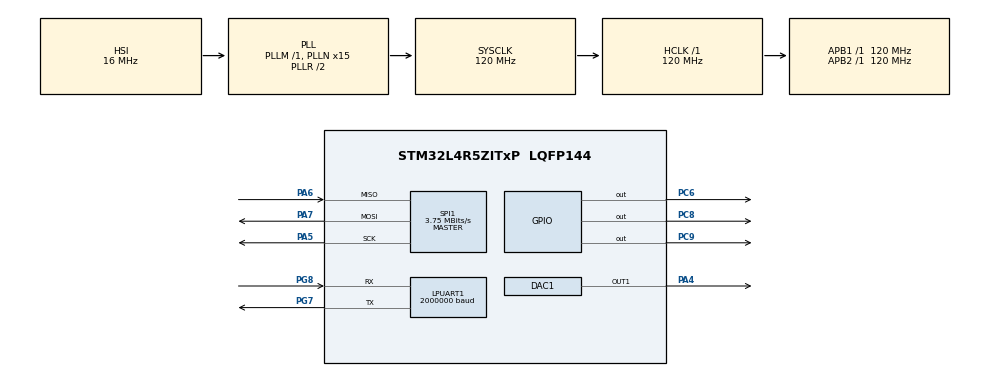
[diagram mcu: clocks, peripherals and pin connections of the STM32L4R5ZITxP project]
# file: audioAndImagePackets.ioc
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DAC1.DAC_Trigger-DAC_OUT1=DAC_TRIGGER_T2_TRGO
Dma.DAC1_CH1.0.Direction=DMA_MEMORY_TO_PERIPH
Dma.DAC1_CH1.0.EventEnable=DISABLE
Dma.DAC1_CH1.0.Instance=DMA1_Channel1
Dma.DAC1_CH1.0.MemDataAlignment=DMA_MDATAALIGN_HALFWORD
Dma.DAC1_CH1.0.MemInc=DMA_MINC_ENABLE
Dma.DAC1_CH1.0.Mode=DMA_CIRCULAR
Dma.DAC1_CH1.0.PeriphDataAlignment=DMA_PDATAALIGN_HALFWORD
Dma.DAC1_CH1.0.PeriphInc=DMA_PINC_DISABLE
Dma.DAC1_CH1.0.Polarity=HAL_DMAMUX_REQUEST_GEN_RISING
Dma.DAC1_CH1.0.Priority=DMA_PRIORITY_LOW
Dma.DAC1_CH1.0.RequestNumber=1
Dma.DAC1_CH1.0.SignalID=NONE
Dma.DAC1_CH1.0.SyncEnable=DISABLE
Dma.DAC1_CH1.0.SyncPolarity=HAL_DMAMUX_SYNC_NO_EVENT
Dma.DAC1_CH1.0.SyncRequestNumber=1
Dma.DAC1_CH1.0.SyncSignalID=NONE
Dma.LPUART1_RX.1.Direction=DMA_PERIPH_TO_MEMORY
Dma.LPUART1_RX.1.EventEnable=DISABLE
Dma.LPUART1_RX.1.Instance=DMA1_Channel2
Dma.LPUART1_RX.1.MemDataAlignment=DMA_MDATAALIGN_BYTE
Dma.LPUART1_RX.1.MemInc=DMA_MINC_ENABLE
Dma.LPUART1_RX.1.Mode=DMA_NORMAL
Dma.LPUART1_RX.1.PeriphDataAlignment=DMA_PDATAALIGN_BYTE
Dma.LPUART1_RX.1.PeriphInc=DMA_PINC_DISABLE
Dma.LPUART1_RX.1.Polarity=HAL_DMAMUX_REQUEST_GEN_RISING
Dma.LPUART1_RX.1.Priority=DMA_PRIORITY_LOW
Dma.LPUART1_RX.1.RequestNumber=1
Dma.LPUART1_RX.1.SignalID=NONE
Dma.LPUART1_RX.1.SyncEnable=DISABLE
Dma.LPUART1_RX.1.SyncPolarity=HAL_DMAMUX_SYNC_NO_EVENT
Dma.LPUART1_RX.1.SyncRequestNumber=1
Dma.LPUART1_RX.1.SyncSignalID=NONE
Dma.Request0=DAC1_CH1
Dma.Request1=LPUART1_RX
LPUART1.BaudRate=2000000
LPUART1.WordLength=UART_WORDLENGTH_8B
Mcu.Family=STM32L4
Mcu.Name=STM32L4R5ZITxP
Mcu.Package=LQFP144
NVIC.DMA1_Channel1_IRQn=true\:0\:0\:false\:false\:true\:false\:true\:true
NVIC.DMA1_Channel2_IRQn=true\:0\:0\:false\:false\:true\:false\:true\:true
NVIC.LPUART1_IRQn=true\:0\:0\:false\:false\:true\:true\:true\:true
NVIC.PriorityGroup=NVIC_PRIORITYGROUP_4
PA0.Signal=S_TIM2_CH1
PA1.Signal=ADCx_IN6
PA10.Signal=USB_OTG_FS_ID
PA13\ (JTMS/SWDIO).Signal=SYS_JTMS-SWDIO
PA14\ (JTCK/SWCLK).Signal=SYS_JTCK-SWCLK
PA3.Signal=ADCx_IN8
PA4.Signal=COMP_DAC11_group
PA5.Mode=Full_Duplex_Master
PA5.Signal=SPI1_SCK
PA6.Mode=Full_Duplex_Master
PA6.Signal=SPI1_MISO
PA7.Mode=Full_Duplex_Master
PA7.Signal=SPI1_MOSI
PA8.Signal=USB_OTG_FS_SOF
PA9.Signal=USB_OTG_FS_VBUS
PB0.Signal=S_TIM3_CH3
PB1.Signal=ADCx_IN16
PB10.Signal=S_TIM2_CH3
PB12.Signal=SAI2_FS_A
PB13.Signal=SAI2_SCK_A
PB14.Signal=S_TIM15_CH1
PB15.Signal=SAI2_SD_A
PB2.Signal=COMP1_INP
PB3\ (JTDO/TRACESWO).Signal=SPI3_SCK
PB4\ (NJTRST).Signal=SPI3_MISO
PB5.Signal=SPI3_MOSI
PB6.Signal=COMP2_INP
PB8.Signal=I2C1_SCL
PB9.Signal=I2C1_SDA
PC0.Signal=ADCx_IN1
PC1.Signal=ADCx_IN2
PC10.Signal=SDMMC1_D2
PC11.Signal=SDMMC1_D3
PC12.Signal=SDMMC1_CK
PC13.Signal=SYS_WKUP2
PC14-OSC32_IN\ (PC14).Signal=RCC_OSC32_IN
PC15-OSC32_OUT\ (PC15).Signal=RCC_OSC32_OUT
PC2.Signal=ADCx_IN3
PC3.Signal=ADCx_IN4
PC4.Signal=ADCx_IN13
PC5.Signal=ADCx_IN14
PC6.Signal=GPIO_Output
PC7.Signal=S_TIM3_CH2
PC8.Signal=GPIO_Output
PC9.Signal=GPIO_Output
PD0.Signal=CAN1_RX
PD14.Signal=S_TIM4_CH3
PD15.Signal=S_TIM4_CH4
PD2.Signal=SDMMC1_CMD
PD3.Signal=USART2_CTS
PD5.Signal=USART2_TX
PD6.Signal=USART2_RX
PD8.Signal=USART3_TX
PD9.Signal=USART3_RX
PE0.Signal=S_TIM4_ETR
PE10.Signal=TIM1_CH2N
PE11.Signal=S_TIM1_CH2
PE12.Signal=TIM1_CH3N
PE13.Signal=S_TIM1_CH3
PE14.Signal=TIM1_BKIN2
PE15.Signal=TIM1_BKIN
PE2.Signal=SAI1_MCLK_A
PE3.Signal=SAI1_SD_B
PE7.Signal=S_TIM1_ETR
PE8.Signal=TIM1_CH1N
PE9.Signal=S_TIM1_CH1
PF0.Signal=I2C2_SDA
PF1.Signal=I2C2_SCL
PF2.Signal=I2C2_SMBA
PF7.Signal=SAI1_MCLK_B
PG7.Mode=Asynchronous
PG7.Signal=LPUART1_TX
PG8.Mode=Asynchronous
PG8.Signal=LPUART1_RX
PH0-OSC_IN\ (PH0).Signal=RCC_OSC_IN
PH1-OSC_OUT\ (PH1).Signal=RCC_OSC_OUT
ProjectManager.HeapSize=0x200
ProjectManager.StackSize=0x400
ProjectManager.TargetToolchain=STM32CubeIDE
RCC.ADCFreq_Value=64000000
RCC.AHBFreq_Value=120000000
RCC.APB1Freq_Value=120000000
RCC.APB1TimFreq_Value=120000000
RCC.APB2Freq_Value=120000000
RCC.APB2TimFreq_Value=120000000
RCC.CortexFreq_Value=120000000
RCC.HCLKFreq_Value=120000000
RCC.HSE_VALUE=8000000
RCC.HSI48_VALUE=48000000
RCC.HSI_VALUE=16000000
RCC.LPUART1CLockSelection=RCC_LPUART1CLKSOURCE_HSI
RCC.LSE_VALUE=32768
RCC.MSI_VALUE=4000000
RCC.PLLN=15
RCC.PLLSourceVirtual=RCC_PLLSOURCE_HSI
RCC.SYSCLKFreq_VALUE=120000000
RCC.SYSCLKSource=RCC_SYSCLKSOURCE_PLLCLK
RCC.USBFreq_Value=64000000
RCC.VCOOutputFreq_Value=240000000
SH.ADCx_IN1.0=ADC1_IN1
SH.ADCx_IN13.0=ADC1_IN13
SH.ADCx_IN14.0=ADC1_IN14
SH.ADCx_IN16.0=ADC1_IN16
SH.ADCx_IN2.0=ADC1_IN2
SH.ADCx_IN3.0=ADC1_IN3
SH.ADCx_IN4.0=ADC1_IN4
SH.ADCx_IN6.0=ADC1_IN6
SH.ADCx_IN8.0=ADC1_IN8
SH.COMP_DAC11_group.0=DAC1_OUT1,DAC_OUT1
SH.S_TIM15_CH1.0=TIM15_CH1
SH.S_TIM1_CH1.0=TIM1_CH1
SH.S_TIM1_CH2.0=TIM1_CH2
SH.S_TIM1_CH3.0=TIM1_CH3
SH.S_TIM1_ETR.0=TIM1_ETR
SH.S_TIM2_CH1.0=TIM2_CH1
SH.S_TIM2_CH3.0=TIM2_CH3
SH.S_TIM3_CH2.0=TIM3_CH2
SH.S_TIM3_CH3.0=TIM3_CH3
SH.S_TIM4_CH3.0=TIM4_CH3
SH.S_TIM4_CH4.0=TIM4_CH4
SH.S_TIM4_ETR.0=TIM4_ETR
SPI1.BaudRatePrescaler=SPI_BAUDRATEPRESCALER_32
SPI1.CalculateBaudRate=3.75 MBits/s
SPI1.DataSize=SPI_DATASIZE_8BIT
SPI1.Direction=SPI_DIRECTION_2LINES
SPI1.Mode=SPI_MODE_MASTER
SPI1.VirtualType=VM_MASTER
TIM1.AutoReloadPreload=TIM_AUTORELOAD_PRELOAD_ENABLE
TIM1.Period=49
TIM1.Prescaler=119
TIM2.Period=2499
TIM2.TIM_MasterOutputTrigger=TIM_TRGO_UPDATE
VP_TIM1_VS_ClockSourceINT.Mode=Internal
VP_TIM2_VS_ClockSourceINT.Mode=Internal
board=NUCLEO-L4R5ZI-P

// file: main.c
/* USER CODE BEGIN Header */
/**
  ******************************************************************************
  * @file           : main.c
  * @brief          : Main program body
  ******************************************************************************
  * @attention
  *
  * Copyright (c) 2025 STMicroelectronics.
  * All rights reserved.
  *
  * This software is licensed under terms that can be found in the LICENSE file
  * in the root directory of this software component.
  * If no LICENSE file comes with this software, it is provided AS-IS.
  *
  ******************************************************************************
  */
/* USER CODE END Header */
#include "main.h"

/* USER CODE BEGIN Includes */
#include "packets.h"
#include "tft.h"
#include <string.h>

/* USER CODE END Includes */

DAC_HandleTypeDef hdac1;
DMA_HandleTypeDef hdma_dac1_ch1;

UART_HandleTypeDef hlpuart1;
DMA_HandleTypeDef hdma_lpuart1_rx;

SPI_HandleTypeDef hspi1;

TIM_HandleTypeDef htim1;
TIM_HandleTypeDef htim2;

/* USER CODE BEGIN PV */

		#define PKT_SYNC_SIZE    2   // 0xA5, 0x5A
		#define PKT_HEADER_SIZE  (sizeof(pkt_header_t))  // 7 bytes (packed)
		#define PKT_PREFIX_SIZE  (PKT_SYNC_SIZE + PKT_HEADER_SIZE) // 9 bytes before payload
		#define PKT_CRC_SIZE     2

		#define UART_ACK_HEADER  'H'
		#define UART_ACK_OK      'S'
		#define UART_ACK_ERR     'E'
		#define UART_ACK_NEXT_AUDIO_CHUNK 'A'

		// Packet size/overhead (must match Python script)
		#define PKT_OVERHEAD     (PKT_SYNC_SIZE + PKT_HEADER_SIZE + PKT_CRC_SIZE) // 11
		#define PKT_MAX_SIZE     0xFFFFu  // total packet: sync+header+payload+CRC

		#define IMG_PKT_MAX_SIZE     PKT_MAX_SIZE
		#define AUD_PKT_MAX_SIZE     PKT_MAX_SIZE

		#define IMG_MAX_PAYLOAD_BYTES  (IMG_PKT_MAX_SIZE - PKT_OVERHEAD)
		#define AUD_MAX_PAYLOAD_BYTES  (AUD_PKT_MAX_SIZE - PKT_OVERHEAD)

		// DAC circular buffer: 2 halves, each half holds one max audio payload worth of samples
		// 2 bytes per 16-bit PCM sample => samples = bytes/2
		#define DAC_HALF_SAMPLES   (AUD_MAX_PAYLOAD_BYTES / 2u)
		#define DAC_BUF_SAMPLES    (2u * DAC_HALF_SAMPLES)

		// UART RX context
	typedef enum {
		RX_STATE_WAIT_PREFIX,   // waiting for 2 sync + 7 header bytes
		RX_STATE_WAIT_PAYLOAD,  // waiting for payload (image or audio)
		RX_STATE_WAIT_CRC       // waiting for audio CRC (2 bytes)
	} uart_rx_state_t;

		typedef struct {
			uart_rx_state_t state;
			uint8_t  prefix_buf[PKT_PREFIX_SIZE];  // 9 bytes: sync + header
			pkt_header_t header;
			uint16_t payload_len;
			uint8_t *payload_dst;                  // destination buffer for payload+CRC
		} uart_rx_ctx_t;

		uart_rx_ctx_t g_uart_rx;

		// Buffers
		uint16_t dac_buf[DAC_BUF_SAMPLES];  // DAC circular buffer

		uint8_t image_pkt_buf[IMG_MAX_PAYLOAD_BYTES + PKT_CRC_SIZE];

		// Audio RX views onto dac_buf halves
		uint8_t *audio_pkt_buf0 = (uint8_t *)dac_buf;                      // first half
		uint8_t *audio_pkt_buf1 = (uint8_t *)&dac_buf[DAC_HALF_SAMPLES];   // second half

		// NEW: CRC storage for audio packets
		uint8_t audio_crc_buf[PKT_CRC_SIZE];

		// Flags
		volatile uint8_t  image_pkt_ready = 0;
		volatile uint16_t image_pkt_len   = 0;

		volatile uint8_t  audio_pkt_ready = 0;
		volatile uint8_t  audio_write_idx = 0;   // 0 or 1
		volatile uint16_t audio_pkt_len   = 0;

		// Which halves of dac_buf are free to write into
		volatile uint8_t half0_free = 1;  // dac_buf[0 .. DAC_HALF_SAMPLES-1]
		volatile uint8_t half1_free = 1;  // dac_buf[DAC_HALF_SAMPLES .. end]

/* USER CODE END PV */

void SystemClock_Config(void);
static void MX_GPIO_Init(void);
static void MX_DMA_Init(void);
static void MX_SPI1_Init(void);
static void MX_TIM1_Init(void);
static void MX_LPUART1_UART_Init(void);
static void MX_DAC1_Init(void);
static void MX_TIM2_Init(void);
/* USER CODE BEGIN PFP */
static void uart_start_header_rx(void);

/* USER CODE END PFP */

int main(void)
{

  /* MCU Configuration--------------------------------------------------------*/

  /* Reset of all peripherals, Initializes the Flash interface and the Systick. */
  HAL_Init();

  /* Configure the system clock */
  SystemClock_Config();

  /* Initialize all configured peripherals */
  MX_GPIO_Init();
  MX_DMA_Init();
  MX_SPI1_Init();
  MX_TIM1_Init();
  MX_LPUART1_UART_Init();
  MX_DAC1_Init();
  MX_TIM2_Init();
  /* USER CODE BEGIN 2 */
  tft_init();
  tft_fill_rect(0, 0, 480, 320, 0xAAAA);
  // HAL_GPIO_WritePin(GPIOC, GPIO_PIN_6, GPIO_PIN_SET); // LED ON

  uart_start_header_rx();

  /* Start TIM2 (48 kHz trigger) */
  HAL_TIM_Base_Start(&htim2);

  /* Init DAC circular buffer to mid-scale (silence) */
  for (uint32_t i = 0; i < DAC_BUF_SAMPLES; ++i) {
      dac_buf[i] = 2048; // mid-scale for 12-bit
  }

  /* Start DAC in circular DMA mode over dac_buf */
  if (HAL_DAC_Start_DMA(&hdac1,
                        DAC_CHANNEL_1,
                        (uint32_t *)dac_buf,
                        DAC_BUF_SAMPLES,
                        DAC_ALIGN_12B_R) != HAL_OK) {
      Error_Handler();
  }

  /* USER CODE END 2 */

  /* Infinite loop */
  /* USER CODE BEGIN WHILE */

  while (1)
  {
	  // 1) Handle image packets
	  if (image_pkt_ready) {
	      __disable_irq();
	      uint16_t payload_len = image_pkt_len;   // bytes of image payload
	      image_pkt_ready = 0;
	      __enable_irq();

	      if (payload_len  <= sizeof(image_pkt_buf)) {

	          uint16_t recv_crc =
	              ((uint16_t)image_pkt_buf[payload_len] << 8) |
	               (uint16_t)image_pkt_buf[payload_len + 1];

	          uint16_t calc_crc = crc16_ccitt(&g_uart_rx.prefix_buf[2], image_pkt_buf, payload_len);

	          if (calc_crc != recv_crc) {
	              uint8_t nack = UART_ACK_ERR;
	              HAL_UART_Transmit(&hlpuart1, &nack, 1, 10);
	          } else {
	              // Example: full-frame 480x320 RGB565
	        	  parse_and_apply_image_packet(image_pkt_buf, payload_len);
	              // else: decode according to your actual format.

	              uint8_t ack = UART_ACK_OK;
	              HAL_UART_Transmit(&hlpuart1, &ack, 1, 10);
	          }
	      } else {
	          uint8_t nack = UART_ACK_ERR;
	          HAL_UART_Transmit(&hlpuart1, &nack, 1, 10);
	      }
	  }

		  // 2) Handle audio packets (fill halves of dac_buf, DAC runs continuously)
      // 2) Handle audio packets (convert in-place in dac_buf, DAC runs continuously)
	  if (audio_pkt_ready) {
	      __disable_irq();
	      uint8_t  idx         = audio_write_idx;  // 0 or 1
	      uint16_t payload_len = audio_pkt_len;    // bytes of audio payload
	      audio_pkt_ready = 0;
	      __enable_irq();

	      // Sanity-check payload length vs half-buffer size
	      if (payload_len > AUD_MAX_PAYLOAD_BYTES) {
	          uint8_t nack = UART_ACK_ERR;
	          HAL_UART_Transmit(&hlpuart1, &nack, 1, 10);
	          continue;
	      }

	      // CRC from separate buffer (big-endian: [hi][lo])
	      uint16_t recv_crc =
	          ((uint16_t)audio_crc_buf[0] << 8) |
	           (uint16_t)audio_crc_buf[1];

	      // Payload lives in selected half of dac_buf
	      uint8_t *payload_bytes = (uint8_t *)(
	          (idx == 0)
	          ? &dac_buf[0]
	          : &dac_buf[DAC_HALF_SAMPLES]
	      );

	      uint16_t calc_crc = crc16_ccitt(&g_uart_rx.prefix_buf[2],
	                                      payload_bytes,
	                                      payload_len);

	      if (calc_crc != recv_crc) {
	          uint8_t nack = UART_ACK_ERR;
	          HAL_UART_Transmit(&hlpuart1, &nack, 1, 10);
	          continue;
	      }

	      // Good packet. Convert in-place in chosen half of dac_buf.
	      uint16_t num_samples = payload_len / 2;  // 2 bytes/sample
	      if (num_samples > DAC_HALF_SAMPLES) {
	          num_samples = DAC_HALF_SAMPLES;
	      }

	      int16_t  *src = (int16_t *)payload_bytes;        // signed PCM
	      uint16_t *dst = (uint16_t *)payload_bytes;       // same locations for DAC

	      for (uint16_t i = 0; i < num_samples; ++i) {
	          int32_t s = src[i];      // -32768..32767
	          s += 32768;              // 0..65535
	          if (s < 0)      s = 0;
	          if (s > 65535)  s = 65535;
	          dst[i] = (uint16_t)(s >> 4);   // 12-bit right aligned
	      }

	      // Pad rest of half with mid-scale if packet smaller than half
	      for (uint16_t i = num_samples; i < DAC_HALF_SAMPLES; ++i) {
	          dst[i] = 2048;
	      }

	      // Tell PC this packet was accepted and written into that half
	      uint8_t ack = UART_ACK_OK;
	      HAL_UART_Transmit(&hlpuart1, &ack, 1, 10);
	  }

    /* USER CODE END WHILE */

  }
}

void SystemClock_Config(void)
{
  RCC_OscInitTypeDef RCC_OscInitStruct = {0};
  RCC_ClkInitTypeDef RCC_ClkInitStruct = {0};

  /** Configure the main internal regulator output voltage
  */
  if (HAL_PWREx_ControlVoltageScaling(PWR_REGULATOR_VOLTAGE_SCALE1_BOOST) != HAL_OK)
  {
    Error_Handler();
  }

  /** Initializes the RCC Oscillators according to the specified parameters
  * in the RCC_OscInitTypeDef structure.
  */
  RCC_OscInitStruct.OscillatorType = RCC_OSCILLATORTYPE_HSI;
  RCC_OscInitStruct.HSIState = RCC_HSI_ON;
  RCC_OscInitStruct.HSICalibrationValue = RCC_HSICALIBRATION_DEFAULT;
  RCC_OscInitStruct.PLL.PLLState = RCC_PLL_ON;
  RCC_OscInitStruct.PLL.PLLSource = RCC_PLLSOURCE_HSI;
  RCC_OscInitStruct.PLL.PLLM = 1;
  RCC_OscInitStruct.PLL.PLLN = 15;
  RCC_OscInitStruct.PLL.PLLP = RCC_PLLP_DIV2;
  RCC_OscInitStruct.PLL.PLLQ = RCC_PLLQ_DIV2;
  RCC_OscInitStruct.PLL.PLLR = RCC_PLLR_DIV2;
  if (HAL_RCC_OscConfig(&RCC_OscInitStruct) != HAL_OK)
  {
    Error_Handler();
  }

  /** Initializes the CPU, AHB and APB buses clocks
  */
  RCC_ClkInitStruct.ClockType = RCC_CLOCKTYPE_HCLK|RCC_CLOCKTYPE_SYSCLK
                              |RCC_CLOCKTYPE_PCLK1|RCC_CLOCKTYPE_PCLK2;
  RCC_ClkInitStruct.SYSCLKSource = RCC_SYSCLKSOURCE_PLLCLK;
  RCC_ClkInitStruct.AHBCLKDivider = RCC_SYSCLK_DIV1;
  RCC_ClkInitStruct.APB1CLKDivider = RCC_HCLK_DIV1;
  RCC_ClkInitStruct.APB2CLKDivider = RCC_HCLK_DIV1;

  if (HAL_RCC_ClockConfig(&RCC_ClkInitStruct, FLASH_LATENCY_5) != HAL_OK)
  {
    Error_Handler();
  }
}

static void MX_DAC1_Init(void)
{

  DAC_ChannelConfTypeDef sConfig = {0};

  /** DAC Initialization
  */
  hdac1.Instance = DAC1;
  if (HAL_DAC_Init(&hdac1) != HAL_OK)
  {
    Error_Handler();
  }

  /** DAC channel OUT1 config
  */
  sConfig.DAC_SampleAndHold = DAC_SAMPLEANDHOLD_DISABLE;
  sConfig.DAC_Trigger = DAC_TRIGGER_T2_TRGO;
  sConfig.DAC_HighFrequency = DAC_HIGH_FREQUENCY_INTERFACE_MODE_ABOVE_80MHZ;
  sConfig.DAC_OutputBuffer = DAC_OUTPUTBUFFER_ENABLE;
  sConfig.DAC_ConnectOnChipPeripheral = DAC_CHIPCONNECT_DISABLE;
  sConfig.DAC_UserTrimming = DAC_TRIMMING_FACTORY;
  if (HAL_DAC_ConfigChannel(&hdac1, &sConfig, DAC_CHANNEL_1) != HAL_OK)
  {
    Error_Handler();
  }

}

static void MX_LPUART1_UART_Init(void)
{

  hlpuart1.Instance = LPUART1;
  hlpuart1.Init.BaudRate = 2000000;
  hlpuart1.Init.WordLength = UART_WORDLENGTH_8B;
  hlpuart1.Init.StopBits = UART_STOPBITS_1;
  hlpuart1.Init.Parity = UART_PARITY_NONE;
  hlpuart1.Init.Mode = UART_MODE_TX_RX;
  hlpuart1.Init.HwFlowCtl = UART_HWCONTROL_NONE;
  hlpuart1.Init.OneBitSampling = UART_ONE_BIT_SAMPLE_DISABLE;
  hlpuart1.Init.ClockPrescaler = UART_PRESCALER_DIV1;
  hlpuart1.AdvancedInit.AdvFeatureInit = UART_ADVFEATURE_NO_INIT;
  hlpuart1.FifoMode = UART_FIFOMODE_DISABLE;
  if (HAL_UART_Init(&hlpuart1) != HAL_OK)
  {
    Error_Handler();
  }
  if (HAL_UARTEx_SetTxFifoThreshold(&hlpuart1, UART_TXFIFO_THRESHOLD_1_8) != HAL_OK)
  {
    Error_Handler();
  }
  if (HAL_UARTEx_SetRxFifoThreshold(&hlpuart1, UART_RXFIFO_THRESHOLD_1_8) != HAL_OK)
  {
    Error_Handler();
  }
  if (HAL_UARTEx_DisableFifoMode(&hlpuart1) != HAL_OK)
  {
    Error_Handler();
  }

}

static void MX_SPI1_Init(void)
{

  /* SPI1 parameter configuration*/
  hspi1.Instance = SPI1;
  hspi1.Init.Mode = SPI_MODE_MASTER;
  hspi1.Init.Direction = SPI_DIRECTION_2LINES;
  hspi1.Init.DataSize = SPI_DATASIZE_8BIT;
  hspi1.Init.CLKPolarity = SPI_POLARITY_LOW;
  hspi1.Init.CLKPhase = SPI_PHASE_1EDGE;
  hspi1.Init.NSS = SPI_NSS_SOFT;
  hspi1.Init.BaudRatePrescaler = SPI_BAUDRATEPRESCALER_32;
  hspi1.Init.FirstBit = SPI_FIRSTBIT_MSB;
  hspi1.Init.TIMode = SPI_TIMODE_DISABLE;
  hspi1.Init.CRCCalculation = SPI_CRCCALCULATION_DISABLE;
  hspi1.Init.CRCPolynomial = 7;
  hspi1.Init.CRCLength = SPI_CRC_LENGTH_DATASIZE;
  hspi1.Init.NSSPMode = SPI_NSS_PULSE_ENABLE;
  if (HAL_SPI_Init(&hspi1) != HAL_OK)
  {
    Error_Handler();
  }

}

static void MX_TIM1_Init(void)
{

  TIM_ClockConfigTypeDef sClockSourceConfig = {0};
  TIM_MasterConfigTypeDef sMasterConfig = {0};

  htim1.Instance = TIM1;
  htim1.Init.Prescaler = 119;
  htim1.Init.CounterMode = TIM_COUNTERMODE_UP;
  htim1.Init.Period = 49;
  htim1.Init.ClockDivision = TIM_CLOCKDIVISION_DIV1;
  htim1.Init.RepetitionCounter = 0;
  htim1.Init.AutoReloadPreload = TIM_AUTORELOAD_PRELOAD_ENABLE;
  if (HAL_TIM_Base_Init(&htim1) != HAL_OK)
  {
    Error_Handler();
  }
  sClockSourceConfig.ClockSource = TIM_CLOCKSOURCE_INTERNAL;
  if (HAL_TIM_ConfigClockSource(&htim1, &sClockSourceConfig) != HAL_OK)
  {
    Error_Handler();
  }
  sMasterConfig.MasterOutputTrigger = TIM_TRGO_RESET;
  sMasterConfig.MasterOutputTrigger2 = TIM_TRGO2_RESET;
  sMasterConfig.MasterSlaveMode = TIM_MASTERSLAVEMODE_DISABLE;
  if (HAL_TIMEx_MasterConfigSynchronization(&htim1, &sMasterConfig) != HAL_OK)
  {
    Error_Handler();
  }

}

static void MX_TIM2_Init(void)
{

  TIM_ClockConfigTypeDef sClockSourceConfig = {0};
  TIM_MasterConfigTypeDef sMasterConfig = {0};

  htim2.Instance = TIM2;
  htim2.Init.Prescaler = 0;
  htim2.Init.CounterMode = TIM_COUNTERMODE_UP;
  htim2.Init.Period = 2499;
  htim2.Init.ClockDivision = TIM_CLOCKDIVISION_DIV1;
  htim2.Init.AutoReloadPreload = TIM_AUTORELOAD_PRELOAD_DISABLE;
  if (HAL_TIM_Base_Init(&htim2) != HAL_OK)
  {
    Error_Handler();
  }
  sClockSourceConfig.ClockSource = TIM_CLOCKSOURCE_INTERNAL;
  if (HAL_TIM_ConfigClockSource(&htim2, &sClockSourceConfig) != HAL_OK)
  {
    Error_Handler();
  }
  sMasterConfig.MasterOutputTrigger = TIM_TRGO_UPDATE;
  sMasterConfig.MasterSlaveMode = TIM_MASTERSLAVEMODE_DISABLE;
  if (HAL_TIMEx_MasterConfigSynchronization(&htim2, &sMasterConfig) != HAL_OK)
  {
    Error_Handler();
  }

}

static void MX_DMA_Init(void)
{

  /* DMA controller clock enable */
  __HAL_RCC_DMAMUX1_CLK_ENABLE();
  __HAL_RCC_DMA1_CLK_ENABLE();

  /* DMA interrupt init */
  /* DMA1_Channel1_IRQn interrupt configuration */
  HAL_NVIC_SetPriority(DMA1_Channel1_IRQn, 0, 0);
  HAL_NVIC_EnableIRQ(DMA1_Channel1_IRQn);
  /* DMA1_Channel2_IRQn interrupt configuration */
  HAL_NVIC_SetPriority(DMA1_Channel2_IRQn, 0, 0);
  HAL_NVIC_EnableIRQ(DMA1_Channel2_IRQn);

}

static void MX_GPIO_Init(void)
{
  GPIO_InitTypeDef GPIO_InitStruct = {0};

  /* GPIO Ports Clock Enable */
  __HAL_RCC_GPIOE_CLK_ENABLE();
  __HAL_RCC_GPIOC_CLK_ENABLE();
  __HAL_RCC_GPIOF_CLK_ENABLE();
  __HAL_RCC_GPIOH_CLK_ENABLE();
  __HAL_RCC_GPIOA_CLK_ENABLE();
  __HAL_RCC_GPIOB_CLK_ENABLE();
  __HAL_RCC_GPIOD_CLK_ENABLE();
  __HAL_RCC_GPIOG_CLK_ENABLE();
  HAL_PWREx_EnableVddIO2();

  /*Configure GPIO pin Output Level */
  HAL_GPIO_WritePin(GPIOC, GPIO_PIN_6|GPIO_PIN_8|GPIO_PIN_9, GPIO_PIN_RESET);

  /*Configure GPIO pins : PE2 PE3 */
  GPIO_InitStruct.Pin = GPIO_PIN_2|GPIO_PIN_3;
  GPIO_InitStruct.Mode = GPIO_MODE_AF_PP;
  GPIO_InitStruct.Pull = GPIO_NOPULL;
  GPIO_InitStruct.Speed = GPIO_SPEED_FREQ_LOW;
  GPIO_InitStruct.Alternate = GPIO_AF13_SAI1;
  HAL_GPIO_Init(GPIOE, &GPIO_InitStruct);

  /*Configure GPIO pins : PF0 PF1 PF2 */
  GPIO_InitStruct.Pin = GPIO_PIN_0|GPIO_PIN_1|GPIO_PIN_2;
  GPIO_InitStruct.Mode = GPIO_MODE_AF_OD;
  GPIO_InitStruct.Pull = GPIO_NOPULL;
  GPIO_InitStruct.Speed = GPIO_SPEED_FREQ_VERY_HIGH;
  GPIO_InitStruct.Alternate = GPIO_AF4_I2C2;
  HAL_GPIO_Init(GPIOF, &GPIO_InitStruct);

  /*Configure GPIO pin : PF7 */
  GPIO_InitStruct.Pin = GPIO_PIN_7;
  GPIO_InitStruct.Mode = GPIO_MODE_AF_PP;
  GPIO_InitStruct.Pull = GPIO_NOPULL;
  GPIO_InitStruct.Speed = GPIO_SPEED_FREQ_LOW;
  GPIO_InitStruct.Alternate = GPIO_AF13_SAI1;
  HAL_GPIO_Init(GPIOF, &GPIO_InitStruct);

  /*Configure GPIO pins : PC0 PC1 PC2 PC3
                           PC4 PC5 */
  GPIO_InitStruct.Pin = GPIO_PIN_0|GPIO_PIN_1|GPIO_PIN_2|GPIO_PIN_3
                          |GPIO_PIN_4|GPIO_PIN_5;
  GPIO_InitStruct.Mode = GPIO_MODE_ANALOG_ADC_CONTROL;
  GPIO_InitStruct.Pull = GPIO_NOPULL;
  HAL_GPIO_Init(GPIOC, &GPIO_InitStruct);

  /*Configure GPIO pins : PA1 PA3 */
  GPIO_InitStruct.Pin = GPIO_PIN_1|GPIO_PIN_3;
  GPIO_InitStruct.Mode = GPIO_MODE_ANALOG_ADC_CONTROL;
  GPIO_InitStruct.Pull = GPIO_NOPULL;
  HAL_GPIO_Init(GPIOA, &GPIO_InitStruct);

  /*Configure GPIO pin : PB0 */
  GPIO_InitStruct.Pin = GPIO_PIN_0;
  GPIO_InitStruct.Mode = GPIO_MODE_AF_PP;
  GPIO_InitStruct.Pull = GPIO_NOPULL;
  GPIO_InitStruct.Speed = GPIO_SPEED_FREQ_LOW;
  GPIO_InitStruct.Alternate = GPIO_AF2_TIM3;
  HAL_GPIO_Init(GPIOB, &GPIO_InitStruct);

  /*Configure GPIO pin : PB1 */
  GPIO_InitStruct.Pin = GPIO_PIN_1;
  GPIO_InitStruct.Mode = GPIO_MODE_ANALOG_ADC_CONTROL;
  GPIO_InitStruct.Pull = GPIO_NOPULL;
  HAL_GPIO_Init(GPIOB, &GPIO_InitStruct);

  /*Configure GPIO pins : PB2 PB6 */
  GPIO_InitStruct.Pin = GPIO_PIN_2|GPIO_PIN_6;
  GPIO_InitStruct.Mode = GPIO_MODE_ANALOG;
  GPIO_InitStruct.Pull = GPIO_NOPULL;
  HAL_GPIO_Init(GPIOB, &GPIO_InitStruct);

  /*Configure GPIO pins : PB12 PB13 PB15 */
  GPIO_InitStruct.Pin = GPIO_PIN_12|GPIO_PIN_13|GPIO_PIN_15;
  GPIO_InitStruct.Mode = GPIO_MODE_AF_PP;
  GPIO_InitStruct.Pull = GPIO_NOPULL;
  GPIO_InitStruct.Speed = GPIO_SPEED_FREQ_LOW;
  GPIO_InitStruct.Alternate = GPIO_AF13_SAI2;
  HAL_GPIO_Init(GPIOB, &GPIO_InitStruct);

  /*Configure GPIO pin : PB14 */
  GPIO_InitStruct.Pin = GPIO_PIN_14;
  GPIO_InitStruct.Mode = GPIO_MODE_AF_PP;
  GPIO_InitStruct.Pull = GPIO_NOPULL;
  GPIO_InitStruct.Speed = GPIO_SPEED_FREQ_LOW;
  GPIO_InitStruct.Alternate = GPIO_AF14_TIM15;
  HAL_GPIO_Init(GPIOB, &GPIO_InitStruct);

  /*Configure GPIO pins : PD8 PD9 */
  GPIO_InitStruct.Pin = GPIO_PIN_8|GPIO_PIN_9;
  GPIO_InitStruct.Mode = GPIO_MODE_AF_PP;
  GPIO_InitStruct.Pull = GPIO_NOPULL;
  GPIO_InitStruct.Speed = GPIO_SPEED_FREQ_VERY_HIGH;
  GPIO_InitStruct.Alternate = GPIO_AF7_USART3;
  HAL_GPIO_Init(GPIOD, &GPIO_InitStruct);

  /*Configure GPIO pins : PD14 PD15 */
  GPIO_InitStruct.Pin = GPIO_PIN_14|GPIO_PIN_15;
  GPIO_InitStruct.Mode = GPIO_MODE_AF_PP;
  GPIO_InitStruct.Pull = GPIO_NOPULL;
  GPIO_InitStruct.Speed = GPIO_SPEED_FREQ_LOW;
  GPIO_InitStruct.Alternate = GPIO_AF2_TIM4;
  HAL_GPIO_Init(GPIOD, &GPIO_InitStruct);

  /*Configure GPIO pins : PC6 PC8 PC9 */
  GPIO_InitStruct.Pin = GPIO_PIN_6|GPIO_PIN_8|GPIO_PIN_9;
  GPIO_InitStruct.Mode = GPIO_MODE_OUTPUT_PP;
  GPIO_InitStruct.Pull = GPIO_NOPULL;
  GPIO_InitStruct.Speed = GPIO_SPEED_FREQ_LOW;
  HAL_GPIO_Init(GPIOC, &GPIO_InitStruct);

  /*Configure GPIO pin : PC7 */
  GPIO_InitStruct.Pin = GPIO_PIN_7;
  GPIO_InitStruct.Mode = GPIO_MODE_AF_PP;
  GPIO_InitStruct.Pull = GPIO_NOPULL;
  GPIO_InitStruct.Speed = GPIO_SPEED_FREQ_LOW;
  GPIO_InitStruct.Alternate = GPIO_AF2_TIM3;
  HAL_GPIO_Init(GPIOC, &GPIO_InitStruct);

  /*Configure GPIO pins : PA8 PA10 */
  GPIO_InitStruct.Pin = GPIO_PIN_8|GPIO_PIN_10;
  GPIO_InitStruct.Mode = GPIO_MODE_AF_PP;
  GPIO_InitStruct.Pull = GPIO_NOPULL;
  GPIO_InitStruct.Speed = GPIO_SPEED_FREQ_VERY_HIGH;
  GPIO_InitStruct.Alternate = GPIO_AF10_OTG_FS;
  HAL_GPIO_Init(GPIOA, &GPIO_InitStruct);

  /*Configure GPIO pin : PA9 */
  GPIO_InitStruct.Pin = GPIO_PIN_9;
  GPIO_InitStruct.Mode = GPIO_MODE_INPUT;
  GPIO_InitStruct.Pull = GPIO_NOPULL;
  HAL_GPIO_Init(GPIOA, &GPIO_InitStruct);

  /*Configure GPIO pins : PC10 PC11 PC12 */
  GPIO_InitStruct.Pin = GPIO_PIN_10|GPIO_PIN_11|GPIO_PIN_12;
  GPIO_InitStruct.Mode = GPIO_MODE_AF_PP;
  GPIO_InitStruct.Pull = GPIO_NOPULL;
  GPIO_InitStruct.Speed = GPIO_SPEED_FREQ_VERY_HIGH;
  GPIO_InitStruct.Alternate = GPIO_AF12_SDMMC1;
  HAL_GPIO_Init(GPIOC, &GPIO_InitStruct);

  /*Configure GPIO pin : PD0 */
  GPIO_InitStruct.Pin = GPIO_PIN_0;
  GPIO_InitStruct.Mode = GPIO_MODE_AF_PP;
  GPIO_InitStruct.Pull = GPIO_NOPULL;
  GPIO_InitStruct.Speed = GPIO_SPEED_FREQ_VERY_HIGH;
  GPIO_InitStruct.Alternate = GPIO_AF9_CAN1;
  HAL_GPIO_Init(GPIOD, &GPIO_InitStruct);

  /*Configure GPIO pin : PD2 */
  GPIO_InitStruct.Pin = GPIO_PIN_2;
  GPIO_InitStruct.Mode = GPIO_MODE_AF_PP;
  GPIO_InitStruct.Pull = GPIO_NOPULL;
  GPIO_InitStruct.Speed = GPIO_SPEED_FREQ_VERY_HIGH;
  GPIO_InitStruct.Alternate = GPIO_AF12_SDMMC1;
  HAL_GPIO_Init(GPIOD, &GPIO_InitStruct);

  /*Configure GPIO pins : PD3 PD5 PD6 */
  GPIO_InitStruct.Pin = GPIO_PIN_3|GPIO_PIN_5|GPIO_PIN_6;
  GPIO_InitStruct.Mode = GPIO_MODE_AF_PP;
  GPIO_InitStruct.Pull = GPIO_NOPULL;
  GPIO_InitStruct.Speed = GPIO_SPEED_FREQ_VERY_HIGH;
  GPIO_InitStruct.Alternate = GPIO_AF7_USART2;
  HAL_GPIO_Init(GPIOD, &GPIO_InitStruct);

  /*Configure GPIO pins : PB3 PB4 PB5 */
  GPIO_InitStruct.Pin = GPIO_PIN_3|GPIO_PIN_4|GPIO_PIN_5;
  GPIO_InitStruct.Mode = GPIO_MODE_AF_PP;
  GPIO_InitStruct.Pull = GPIO_NOPULL;
  GPIO_InitStruct.Speed = GPIO_SPEED_FREQ_VERY_HIGH;
  GPIO_InitStruct.Alternate = GPIO_AF6_SPI3;
  HAL_GPIO_Init(GPIOB, &GPIO_InitStruct);

  /*Configure GPIO pins : PB8 PB9 */
  GPIO_InitStruct.Pin = GPIO_PIN_8|GPIO_PIN_9;
  GPIO_InitStruct.Mode = GPIO_MODE_AF_OD;
  GPIO_InitStruct.Pull = GPIO_NOPULL;
  GPIO_InitStruct.Speed = GPIO_SPEED_FREQ_VERY_HIGH;
  GPIO_InitStruct.Alternate = GPIO_AF4_I2C1;
  HAL_GPIO_Init(GPIOB, &GPIO_InitStruct);

  /*Configure GPIO pin : PE0 */
  GPIO_InitStruct.Pin = GPIO_PIN_0;
  GPIO_InitStruct.Mode = GPIO_MODE_AF_PP;
  GPIO_InitStruct.Pull = GPIO_NOPULL;
  GPIO_InitStruct.Speed = GPIO_SPEED_FREQ_LOW;
  GPIO_InitStruct.Alternate = GPIO_AF2_TIM4;
  HAL_GPIO_Init(GPIOE, &GPIO_InitStruct);

  /* USER CODE BEGIN MX_GPIO_Init_2 */

  /*Configure GPIO pins : PD8 PD9 (USART3 TX/RX) */
  GPIO_InitStruct.Pin = GPIO_PIN_8 | GPIO_PIN_9;
  GPIO_InitStruct.Mode = GPIO_MODE_AF_PP;
  GPIO_InitStruct.Pull = GPIO_NOPULL;
  GPIO_InitStruct.Speed = GPIO_SPEED_FREQ_VERY_HIGH;
  GPIO_InitStruct.Alternate = GPIO_AF7_USART3;
  HAL_GPIO_Init(GPIOD, &GPIO_InitStruct);

  /* USER CODE END MX_GPIO_Init_2 */
}

/* USER CODE BEGIN 4 */

	static void uart_start_header_rx(void)
	{
		g_uart_rx.state = RX_STATE_WAIT_PREFIX;
		HAL_UART_Receive_DMA(&hlpuart1,
							g_uart_rx.prefix_buf,
							PKT_PREFIX_SIZE);   // 9 bytes: sync + header

	}

	void HAL_UART_RxCpltCallback(UART_HandleTypeDef *huart)
	{
	    if (huart->Instance != LPUART1)
	        return;

	    if (g_uart_rx.state == RX_STATE_WAIT_PREFIX) {
	        // We just received sync + header (9 bytes)
	        uint8_t *buf = g_uart_rx.prefix_buf;

	        // 1) Check sync bytes
	        if (buf[0] != 0xA5 || buf[1] != 0x5A) {
	            uart_start_header_rx();
	            return;
	        }

	        // 2) Extract payload length
	        uint16_t payload_len = ((uint16_t)buf[7] << 8) | buf[8];

	        // 3) Parse header fields
	        g_uart_rx.header.version   = buf[2];
	        g_uart_rx.header.data_type = buf[3];
	        g_uart_rx.header.flags     = buf[4];
	        g_uart_rx.header.seq       = ((uint16_t)buf[5] << 8) | buf[6];
	        g_uart_rx.header.len       = payload_len;
	        g_uart_rx.payload_len      = payload_len;

	        // 4) Choose destination buffer based on packet type
	        switch (g_uart_rx.header.data_type) {
	        case PKT_DATA_IMAGE:
	            if (payload_len + PKT_CRC_SIZE > sizeof(image_pkt_buf)) {
	                uart_start_header_rx();
	                return;
	            }
	            g_uart_rx.payload_dst = image_pkt_buf;
	            break;

	        case PKT_DATA_AUDIO:
	            // Sanity-check payload length in BYTES (just payload, *not* CRC)
	            if (payload_len > AUD_MAX_PAYLOAD_BYTES) {
	                uart_start_header_rx();
	                return;
	            }

	            // Choose a free half of dac_buf as DMA destination for the *payload*
	            if (half0_free) {
	                g_uart_rx.payload_dst = audio_pkt_buf0; // first half of dac_buf
	                audio_write_idx = 0;
	                half0_free = 0;  // now reserved
	            } else if (half1_free) {
	                g_uart_rx.payload_dst = audio_pkt_buf1; // second half of dac_buf
	                audio_write_idx = 1;
	                half1_free = 0;  // now reserved
	            } else {
	                // No free half; can't accept this packet safely
	                uart_start_header_rx();
	                return;
	            }
	            break;

	        default:
	            // Unknown type -> ignore this frame
	            uart_start_header_rx();
	            return;
	        }

	        // 5) Set state and start DMA for payload + CRC
	        g_uart_rx.state = RX_STATE_WAIT_PAYLOAD;

	        if (g_uart_rx.header.data_type == PKT_DATA_IMAGE) {
	            // Image: payload + CRC in one shot, as before
	            HAL_UART_Receive_DMA(&hlpuart1,
	                                 g_uart_rx.payload_dst,
	                                 payload_len + PKT_CRC_SIZE);
	        } else {
	            // Audio: ONLY the payload goes into dac_buf
	            HAL_UART_Receive_DMA(&hlpuart1,
	                                 g_uart_rx.payload_dst,
	                                 payload_len);
	        }

	        // 6) Tell PC "header OK, I'm ready for payload"
	        uint8_t ack_hdr = UART_ACK_HEADER;  // 'H'
	        HAL_UART_Transmit(&hlpuart1, &ack_hdr, 1, 10);
	    }
	    else if (g_uart_rx.state == RX_STATE_WAIT_PAYLOAD) {
	        if (g_uart_rx.header.data_type == PKT_DATA_IMAGE) {
	            // IMAGE: we already DMA'd payload+CRC into image_pkt_buf
	            image_pkt_len   = g_uart_rx.payload_len;  // payload length (no CRC)
	            image_pkt_ready = 1;

	            // Back to waiting for next header
	            uart_start_header_rx();
	        }
	        else if (g_uart_rx.header.data_type == PKT_DATA_AUDIO) {
	            // AUDIO: we have JUST the payload in dac_buf now.
	            // Next, we need to grab the 2 CRC bytes.

	            g_uart_rx.state = RX_STATE_WAIT_CRC;

	            // Start a tiny 2-byte DMA into audio_crc_buf
	            HAL_UART_Receive_DMA(&hlpuart1,
	                                 audio_crc_buf,
	                                 PKT_CRC_SIZE);
	            // Do NOT call uart_start_header_rx() yet; we still need CRC.
	        }
	    }
	    else if (g_uart_rx.state == RX_STATE_WAIT_CRC) {
	        // We just finished receiving the 2 CRC bytes for an audio packet
	        if (g_uart_rx.header.data_type == PKT_DATA_AUDIO) {
	            audio_pkt_len   = g_uart_rx.payload_len;  // just payload length
	            audio_pkt_ready = 1;
	        }

	        // Now we can go back to waiting for a new header
	        uart_start_header_rx();
	    }

	}

	void HAL_DAC_ConvHalfCpltCallbackCh1(DAC_HandleTypeDef *hdac)
	{
	    if (hdac->Instance != DAC1) return;

	    // Just finished playing first half [0 .. DAC_HALF_SAMPLES-1],
	    // now DMA is reading second half.
	    half0_free = 1;

	    // Request next audio chunk from PC
	    uint8_t req = UART_ACK_NEXT_AUDIO_CHUNK; // 'A'
	    HAL_UART_Transmit(&hlpuart1, &req, 1, 10);

	}

	void HAL_DAC_ConvCpltCallbackCh1(DAC_HandleTypeDef *hdac)
	{
	    if (hdac->Instance != DAC1) return;

	    // Just finished second half [DAC_HALF_SAMPLES .. end],
	    // now DMA wrapped back to first half.
	    half1_free = 1;

	    uint8_t req = UART_ACK_NEXT_AUDIO_CHUNK; // 'A'
	    HAL_UART_Transmit(&hlpuart1, &req, 1, 10);

	}

/* USER CODE END 4 */

void Error_Handler(void)
{
  __disable_irq();
  while (1)
  {
  }
}
